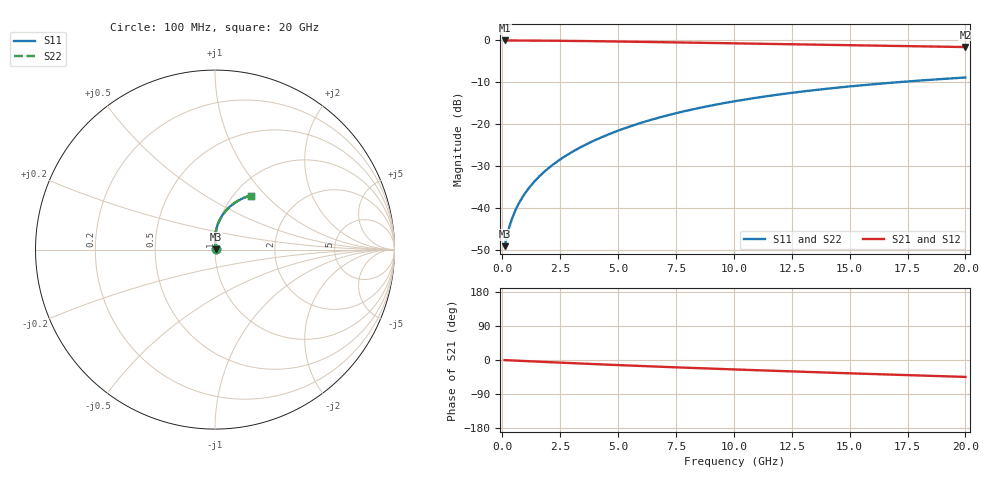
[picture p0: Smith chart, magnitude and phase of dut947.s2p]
! Touchstone file exported from HFSS 2024.1.0
!  File:  C:/UserFiles/LocalFiles/RDL_TSV_Batchsim/temp_RDL_bottom_947_1779942065.aedt
!  Generated:  12:23:34 PM May 28, 2026
!  Design:  RDL_bottom
!  Project:  temp_RDL_bottom_947_1779942065
!  Setup:  Setup1
!  Solution:  Sweep
! Variables:
!  dtsv = 10.80580581um
!  hbump = 3um
!  htsv = 64.01um
!  ldown = 639.33um
!  lrdl = 100um
!  p = 40
!  p1 = 57.25um
!  rhole = 1um
!  t = 450um
!  tdown = 2.76um
!  trdl = 3.915915916um
!  wdown = 29.47um
!  wrdl = 20um
# GHz S MA R 50.000000
! Terminal data exported
! Port[1] = RDL1_T1
! Port[2] = RDL1_T2
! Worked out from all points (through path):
!   200 points, 100 MHz to 20 GHz, reference 50 ohm
!   highest |S21| = -0.03 dB at 100 MHz (marker M1); lowest = -1.6 dB at 20 GHz (marker M2)
!   group delay of S21, straight-line fit = 6.11 ps
!   lowest |S11| = -49.0 dB at 100 MHz (marker M3), VSWR 1.01, Z = 50.3 + j0.173 ohm
!   |S11| at or under -10 dB: start of sweep to 17.01 GHz
!   |S22| runs from -49.0 to -8.9 dB; largest |S21 - S12| = 1.8e-14
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0.1  0.003541 29.1  0.9969 -0.3  0.9969 -0.3  0.003541 29.1
! Gamma 0 0 0 0
! Port Impedance 50 0 50 0
0.2  0.004674 45.8  0.9967 -0.6  0.9967 -0.6  0.004674 45.8
0.3  0.005965 54.9  0.9964 -0.9  0.9964 -0.9  0.005965 54.9
0.4  0.007273 60.7  0.9961 -1.2  0.9961 -1.2  0.007274 60.7
0.5  0.008583 64.8  0.9959 -1.4  0.9959 -1.4  0.008583 64.8
0.6  0.0099 68.1  0.9956 -1.7  0.9956 -1.7  0.0099 68.1
0.8  0.01258 72.9  0.9951 -2.3  0.9951 -2.3  0.01258 72.9
1  0.01533 76.4  0.9946 -2.8  0.9946 -2.8  0.01533 76.3
1.2  0.01816 78.9  0.9939 -3.4  0.9939 -3.4  0.01816 78.9
1.7  0.02552 83.2  0.992 -4.8  0.992 -4.8  0.02552 83.2
2.2  0.0333 85.8  0.9895 -6.2  0.9895 -6.2  0.0333 85.8
2.8  0.04319 87.6  0.9858 -7.8  0.9858 -7.8  0.04318 87.6
3.5  0.05545 88.7  0.9809 -9.6  0.9809 -9.6  0.05544 88.6
4.2  0.06844 88.9  0.9753 -11.4  0.9753 -11.4  0.06842 88.9
5  0.08402 88.5  0.9684 -13.4  0.9684 -13.4  0.08399 88.4
5.9  0.1022 87.4  0.9603 -15.6  0.9603 -15.6  0.1022 87.3
6.8  0.1209 85.8  0.9519 -17.7  0.9519 -17.7  0.1208 85.8
8.4  0.1545 82.5  0.9368 -21.4  0.9368 -21.4  0.1544 82.4
10.1  0.1896 78.5  0.9208 -25.1  0.9208 -25.1  0.1895 78.5
13.4  0.254 70.8  0.8903 -32.0  0.8903 -32.0  0.2538 70.7
16.7  0.3112 63.4  0.8606 -38.4  0.8606 -38.4  0.311 63.4
20  0.3609 56.6  0.8319 -44.6  0.8319 -44.6  0.3606 56.6
